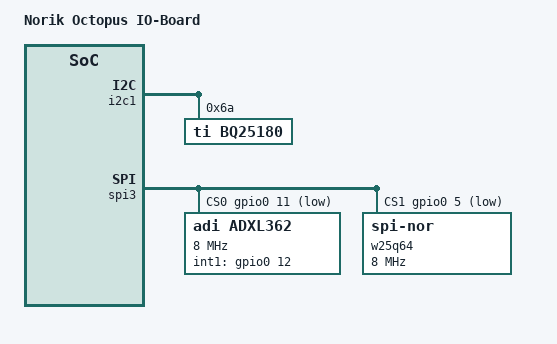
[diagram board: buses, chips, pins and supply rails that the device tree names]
/*
 * Copyright (c) 2024 Norik Systems
 * SPDX-License-Identifier: Apache-2.0
 */
#include "octopus_io_board_common-pinctrl.dtsi"
#include "../octopus_som/octopus_som_common.dtsi"

/ {
	compatible = "norik,octopus-io-board";
	model = "Norik Octopus IO-Board";

	chosen {
		zephyr,console = &uart0;
		zephyr,shell-uart = &uart0;
		zephyr,uart-mcumgr = &uart0;
	};

	/* These aliases are provided for compatibility with samples */
	aliases {
		watchdog0 = &wdt0;
	};
};

&i2c1 {
	compatible = "nordic,nrf-twim";
	pinctrl-0 = <&i2c0_default>;
	pinctrl-1 = <&i2c0_sleep>;
	pinctrl-names = "default", "sleep";
	status = "okay";

	bq25180: bq25180@6a {
		compatible = "ti,bq25180";
		reg = <0x6a>;
		constant-charge-current-max-microamp = <10000>;
		status = "okay";
	};
};

&spi3 {
	cs-gpios = <&gpio0 11 GPIO_ACTIVE_LOW>, <&gpio0 5 GPIO_ACTIVE_LOW>;
	status = "okay";

	adxl362: adxl362@0 {
		compatible = "adi,adxl362";
		reg = <0>;
		spi-max-frequency = <8000000>;
		int1-gpios = <&gpio0 12 0>;
	};

	w25q64: w25q64@1 {
		compatible = "jedec,spi-nor";
		reg = <1>;
		spi-max-frequency = <8000000>;
		jedec-id = [ef 40 17];
		size = <0x4000000>;
		has-dpd;
		t-enter-dpd = <3500>;
		t-exit-dpd = <3500>;
		status = "okay";
	};
};
